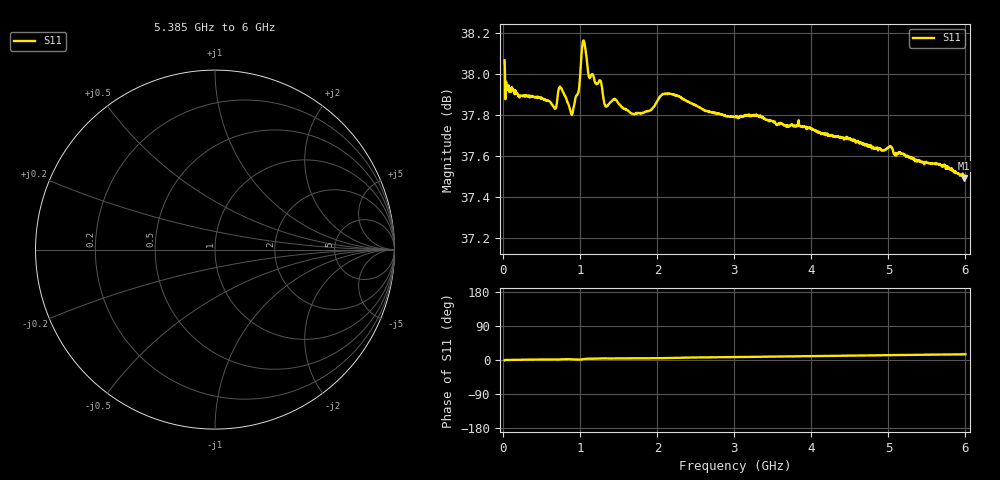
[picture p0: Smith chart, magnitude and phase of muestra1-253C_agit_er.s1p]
! NanoVNA-UTN-Toolkit permittivity export -- NOT S-parameters
! ES: Permitividad relativa compleja de la muestra. NO es S11: se guarda en
! ES: formato Touchstone solo para poder graficarla con visores de .s1p.
! EN: Complex relative permittivity of the sample. NOT S11: the Touchstone
! EN: format is used only so that .s1p viewers can plot it.
! Columns / Columnas: f (Hz) | eps' | eps'' (loss >= 0); eps_r = eps' - j*eps''
! Sample / Muestra: muestra1-253C_agit
! Technique / Tecnica: Open-ended coaxial probe (liquids)
! References / Referencias: water + ipa
! Probe / Sonda: 3 mm probe (C0 0.019 pF)
! Temperature / Temperatura: 23.0 °C
! 5 non-physical point(s) (eps'' < 0 or eps' < 1) kept and flagged / 5 punto(s) no fisico(s) (eps'' < 0 o eps' < 1) conservados y marcados
! Reliable from 45 MHz: points below are not reliable / Confiable desde 45 MHz: los puntos inferiores no son confiables
! Spike removal replaced 1 isolated S11 point(s) before solving / La remocion de picos reemplazo 1 punto(s) aislado(s) de S11
! 2 point(s) without a solution omitted / 2 punto(s) sin solucion omitidos
! Exported / Exportado: 2026-10-24T13:09:57
# Hz S RI R 50
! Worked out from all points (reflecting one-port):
!   1198 points, 15 MHz to 6 GHz, reference 50 ohm
!   lowest |S11| = 37.5 dB at 5.985 GHz (marker M1)
!   phase of S11 starts at -1 deg and turns +16 deg over the sweep
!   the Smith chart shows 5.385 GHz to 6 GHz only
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1.5e7  80.03 -0.7024
5e7  78.85 0.0852
2.15e8  78.46 0.8718
6e8  78.19 2.127
6.65e8  77.89 2.015
7.05e8  78.46 1.612
7.65e8  78.65 2.633
8.45e8  78.04 2.888
9e8  77.69 2.138
9.95e8  79.28 1.456
1.025e9  80.68 2.356
1.045e9  80.83 3.488
1.085e9  79.83 4.811
1.12e9  79.11 4.602
1.285e9  78.46 5.974
1.325e9  77.8 5.602
1.38e9  77.97 5.333
1.515e9  77.83 5.876
1.7e9  77.42 5.972
1.975e9  77.85 6.267
2.26e9  78.05 7.989
2.52e9  77.47 9.135
3.01e9  76.85 10.38
3.76e9  76.07 12.87
4.505e9  75.08 15.26
5.255e9  73.8 17.5
5.985e9  72.36 19.44
6e9  72.42 19.5
